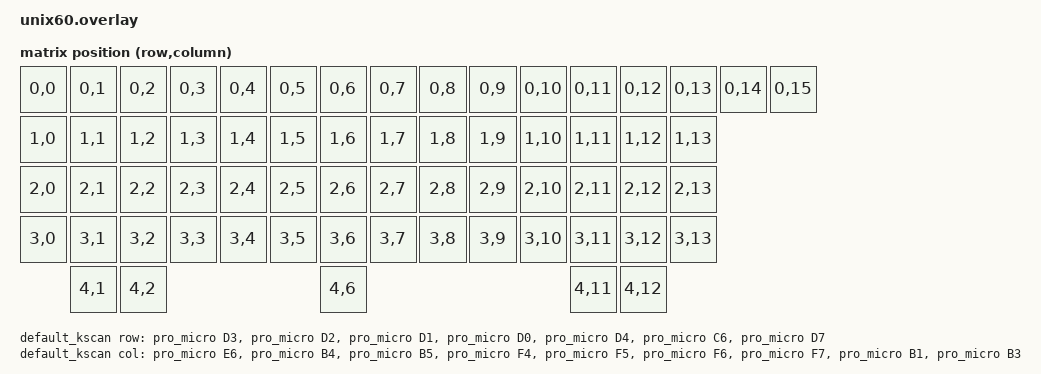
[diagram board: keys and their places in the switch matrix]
#include <dt-bindings/zmk/matrix_transform.h>

/ {
    chosen {
        zmk,kscan = &default_kscan;
        zmk,matrix_transform = &default_transform;
    };

    default_kscan: kscan {
        compatible = "zmk, kscan-gpio-matrix";
        label = "default_kscan";
        diode-direction = "col2row";

        row-gpios = <&pro_micro D3 (GPIO_ACTIVE_HIGH | GPIO_PULL_DOWN)>,
                    <&pro_micro D2 (GPIO_ACTIVE_HIGH | GPIO_PULL_DOWN)>,
                    <&pro_micro D1 (GPIO_ACTIVE_HIGH | GPIO_PULL_DOWN)>,
                    <&pro_micro D0 (GPIO_ACTIVE_HIGH | GPIO_PULL_DOWN)>,
                    <&pro_micro D4 (GPIO_ACTIVE_HIGH | GPIO_PULL_DOWN)>,
                    <&pro_micro C6 (GPIO_ACTIVE_HIGH | GPIO_PULL_DOWN)>,
                    <&pro_micro D7 (GPIO_ACTIVE_HIGH | GPIO_PULL_DOWN)>;

        col-gpios = <&pro_micro E6 GPIO_ACTIVE_HIGH>,
                    <&pro_micro B4 GPIO_ACTIVE_HIGH>,
                    <&pro_micro B5 GPIO_ACTIVE_HIGH>,
                    <&pro_micro F4 GPIO_ACTIVE_HIGH>,
                    <&pro_micro F5 GPIO_ACTIVE_HIGH>,
                    <&pro_micro F6 GPIO_ACTIVE_HIGH>,
                    <&pro_micro F7 GPIO_ACTIVE_HIGH>,
                    <&pro_micro B1 GPIO_ACTIVE_HIGH>,
                    <&pro_micro B3 GPIO_ACTIVE_HIGH>;
    };

    default_transform: matrix_transform {
        compatible = "zmk,matrix-transform";
        rows = <7>;
        columns = <9>;

        map = <
            RC(0,0) RC(0,1) RC(0,2) RC(0,3) RC(0,4) RC(0,5) RC(0,6) RC(0,7) RC(0,8) RC(0,9) RC(0,10) RC(0,11) RC(0,12) RC(0,13) RC(0,14) RC(0,15)
            RC(1,0) RC(1,1) RC(1,2) RC(1,3) RC(1,4) RC(1,5) RC(1,6) RC(1,7) RC(1,8) RC(1,9) RC(1,10) RC(1,11) RC(1,12) RC(1,13)
            RC(2,0) RC(2,1) RC(2,2) RC(2,3) RC(2,4) RC(2,5) RC(2,6) RC(2,7) RC(2,8) RC(2,9) RC(2,10) RC(2,11) RC(2,12) RC(2,13)
            RC(3,0) RC(3,1) RC(3,2) RC(3,3) RC(3,4) RC(3,5) RC(3,6) RC(3,7) RC(3,8) RC(3,9) RC(3,10) RC(3,11) RC(3,12) RC(3,13)
                    RC(4,1) RC(4,2)                         RC(4,6)                                  RC(4,11) RC(4,12)
        >;
    }
}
